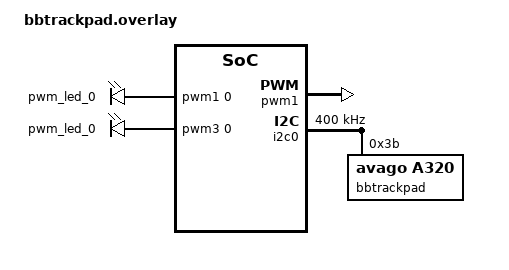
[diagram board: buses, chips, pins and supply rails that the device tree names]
/*
*
* Copyright (c) 2025 ZitaoTech
* SPDX-License-Identifier: MIT
*
*/

/ {
    chosen {
        zmk,trackpad_led = &trackpad_led;
        zmk,custom_led=&custom_led;
    };
    trackpad_led: pwmledo{
        compatible = "pwm-leds";
        pwm_led_0 {
            pwms = <&pwm1 0 PWM_USEC(20) PWM_POLARITY_NORMAL>;
        };
    };
    
    custom_led: pwmledto{
        compatible = "pwm-leds";
        pwm_led_0 {
            pwms = <&pwm3 0 PWM_USEC(20) PWM_POLARITY_NORMAL>;
        };
    };
};

&pwm1 {
    status = "okay";
    pinctrl-0 = <&pwm1_default>;
    pinctrl-1 = <&pwm1_sleep>;
    pinctrl-names = "default", "sleep";
};

&i2c0 {
    status = "okay";
    compatible = "nordic,nrf-twim";
    clock-frequency = <I2C_BITRATE_FAST>; 
    pinctrl-0 = <&i2c0_default>;
    pinctrl-1 = <&i2c0_sleep>;
    pinctrl-names = "default", "sleep";

    bbtrackpad:a320@3B {
        compatible = "avago,a320";
        reg = <0x3B>;
        status = "okay";
    };
    
};

/ {
    split_inputs {
        #address-cells = <1>;
        #size-cells = <0>;

        bbtrackpad_split: bbtrackpad_split@0 {
            compatible = "zmk,input-split";
            reg = <0>;
        };

    };

    /* Listeners */
    bbtrackpad_listener: bbtrackpad_listener {
        compatible = "zmk,input-listener";
        status = "disabled";
        device = <&bbtrackpad_split>;
    };

};


&bbtrackpad_split {
    device = <&bbtrackpad>;
};

/*
 * 引脚定义在 config/sofle_dongle_left.overlay（属于板子，不属于模块）。
 *
 * 注意 pwm3 的 enable 也在那个文件里，不在这里：pwm3 是插座上那颗副 LED，
 * 只有左板把它接出来了。enable 里引用 pwm3_default，而 pwm3_default 是板级
 * 引脚 —— 放在 shield 里会让右板在设备树阶段就报
 * "undefined node label 'pwm3_default'"，掩盖掉本来该看到的
 * 「右座没有触摸板引脚」那条 #error。同理，将来若某侧缺插座引脚，
 * enable 也该跟着引脚走在板级 overlay 里。
 */

